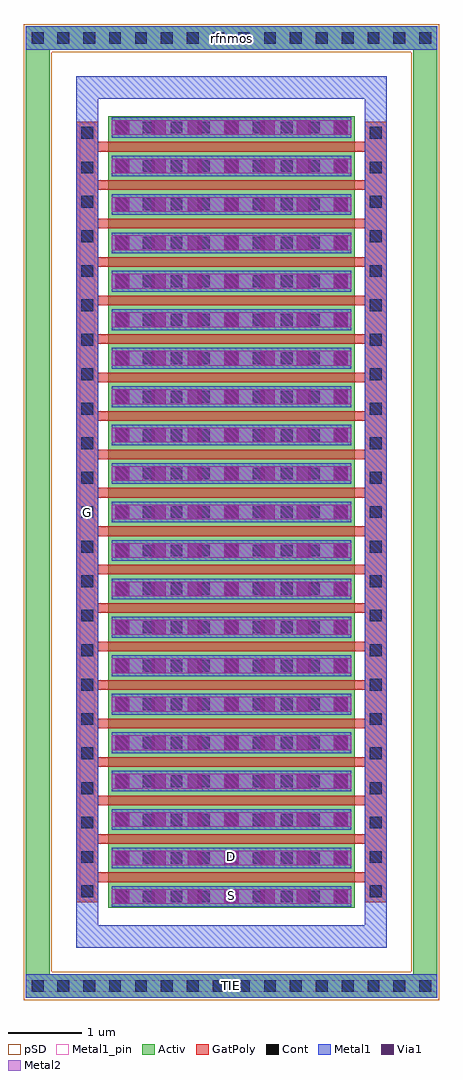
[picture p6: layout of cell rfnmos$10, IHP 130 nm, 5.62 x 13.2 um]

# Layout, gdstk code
import gdstk
lib = gdstk.Library(unit=1e-6, precision=1e-09)
def R(c, l, rs):  # rectangles x0, y0, x1, y1
    for r in rs: c.add(gdstk.rectangle(r[:2], r[2:], *l))
def A(c, l, x, y, w, h, nx, ny, dx, dy):  # array of equal rectangles
    R(c, l, [(x+i*dx, y+j*dy, x+i*dx+w, y+j*dy+h) for i in range(nx) for j in range(ny)])
def P(c, l, *ps):  # polygons
    for p in ps: c.add(gdstk.Polygon(p, *l))
Activ = (1, 0)
GatPoly = (5, 0)
Cont = (6, 0)
Metal1 = (8, 0)
Metal1_pin = (8, 2)
Metal2 = (10, 0)
pSD = (14, 0)
Via1 = (19, 0)

rfnmos_10 = lib.new_cell('rfnmos$10')
R(rfnmos_10, Activ, [(1.14,1.245,4.48,11.955)])
P(rfnmos_10, Activ, [(0.03,0.03),(0.03,12.85),(0.35,12.85),(0.35,0.35),(5.27,0.35),(5.27,12.85),(0.03,12.85),(0.03,13.17),(5.59,13.17),(5.59,0.03)])
A(rfnmos_10, GatPoly, 1.01, 1.595, 3.6, 0.13, 1, 20, 0, 0.52)
R(rfnmos_10, GatPoly, [(0.71,1.32,1.01,11.88), (4.61,1.32,4.91,11.88)])
A(rfnmos_10, Cont, 0.455, 0.11, 0.16, 0.16, 7, 2, 0.35, 12.82)
A(rfnmos_10, Cont, 2.9, 0.11, 0.16, 0.16, 8, 2, 0.35, 12.82)
A(rfnmos_10, Cont, 1.24, 1.32, 0.16, 0.16, 1, 21, 0, 0.52)
A(rfnmos_10, Cont, 1.61, 1.32, 0.16, 0.16, 1, 21, 0, 0.52)
A(rfnmos_10, Cont, 1.985, 1.32, 0.16, 0.16, 1, 21, 0, 0.52)
A(rfnmos_10, Cont, 2.355, 1.32, 0.16, 0.16, 1, 21, 0, 0.52)
A(rfnmos_10, Cont, 2.73, 1.32, 0.16, 0.16, 1, 21, 0, 0.52)
A(rfnmos_10, Cont, 3.1, 1.32, 0.16, 0.16, 1, 21, 0, 0.52)
A(rfnmos_10, Cont, 3.475, 1.32, 0.16, 0.16, 1, 21, 0, 0.52)
A(rfnmos_10, Cont, 3.845, 1.32, 0.16, 0.16, 1, 21, 0, 0.52)
A(rfnmos_10, Cont, 4.22, 1.32, 0.16, 0.16, 1, 21, 0, 0.52)
A(rfnmos_10, Cont, 0.78, 1.39, 0.16, 0.16, 1, 4, 0, 0.465)
A(rfnmos_10, Cont, 4.68, 1.39, 0.16, 0.16, 1, 4, 0, 0.465)
A(rfnmos_10, Cont, 0.78, 3.255, 0.16, 0.16, 1, 4, 0, 0.465)
A(rfnmos_10, Cont, 4.68, 3.255, 0.16, 0.16, 1, 4, 0, 0.465)
A(rfnmos_10, Cont, 0.78, 5.12, 0.16, 0.16, 1, 3, 0, 0.465)
A(rfnmos_10, Cont, 4.68, 5.12, 0.16, 0.16, 1, 3, 0, 0.465)
A(rfnmos_10, Cont, 0.78, 6.52, 0.16, 0.16, 1, 4, 0, 0.465)
A(rfnmos_10, Cont, 4.68, 6.52, 0.16, 0.16, 1, 4, 0, 0.465)
A(rfnmos_10, Cont, 0.78, 8.385, 0.16, 0.16, 1, 4, 0, 0.465)
A(rfnmos_10, Cont, 4.68, 8.385, 0.16, 0.16, 1, 4, 0, 0.465)
A(rfnmos_10, Cont, 0.78, 10.25, 0.16, 0.16, 1, 3, 0, 0.465)
A(rfnmos_10, Cont, 4.68, 10.25, 0.16, 0.16, 1, 3, 0, 0.465)
R(rfnmos_10, Cont, [(0.11,0.11,0.27,0.27), (0.78,11.65,0.94,11.81), (4.68,11.65,4.84,11.81), (0.11,12.93,0.27,13.09)])
A(rfnmos_10, Metal1, 1.19, 1.26, 3.24, 0.28, 1, 21, 0, 0.52)
R(rfnmos_10, Metal1, [(0.03,0.03,5.59,0.35), (0.76,1.34,0.96,11.86), (4.66,1.34,4.86,11.86), (0.03,12.85,5.59,13.17)])
P(rfnmos_10, Metal1, [(0.71,0.71),(0.71,12.19),(1.01,12.19),(1.01,1.01),(4.61,1.01),(4.61,12.19),(0.71,12.19),(0.71,12.49),(4.91,12.49),(4.91,0.71)])
R(rfnmos_10, Metal1_pin, [(0.03,0.11,5.59,0.27), (0.03,0.11,5.59,0.27), (1.19,1.26,4.43,1.54), (1.19,1.26,4.43,1.54), (0.76,1.34,0.96,11.86), (0.76,1.34,0.96,11.86), (1.19,1.78,4.43,2.06), (1.19,1.78,4.43,2.06)])
A(rfnmos_10, Metal2, 1.19, 1.3, 3.24, 0.2, 1, 21, 0, 0.52)
P(rfnmos_10, pSD, [(0,0),(0,12.82),(0.38,12.82),(0.38,0.38),(5.24,0.38),(5.24,12.82),(0,12.82),(0,13.2),(5.62,13.2),(5.62,0)])
A(rfnmos_10, Via1, 1.24, 1.305, 0.19, 0.19, 3, 21, 0.49, 0.52)
A(rfnmos_10, Via1, 2.715, 1.305, 0.19, 0.19, 3, 21, 0.49, 0.52)
A(rfnmos_10, Via1, 4.19, 1.305, 0.19, 0.19, 1, 21, 0, 0.52)
rfnmos_10.add(gdstk.Label('S', (2.81,1.42), layer=63, texttype=0))
rfnmos_10.add(gdstk.Label('D', (2.81,1.94), layer=63, texttype=0))
rfnmos_10.add(gdstk.Label('G', (0.86,6.6), layer=63, texttype=0))
rfnmos_10.add(gdstk.Label('TIE', (2.81,0.19), layer=63, texttype=0))
rfnmos_10.add(gdstk.Label('rfnmos', (2.81,13.01), layer=63, texttype=0))

lib.write_gds('rfnmos_10.gds')
